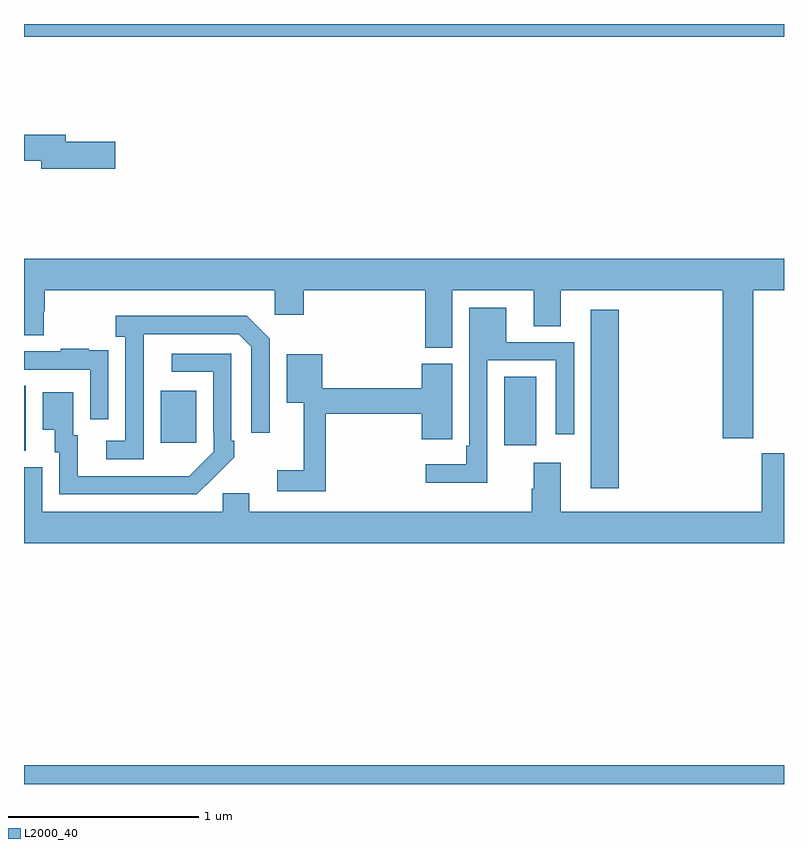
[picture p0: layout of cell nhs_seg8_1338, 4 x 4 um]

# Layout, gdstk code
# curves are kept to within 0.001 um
import gdstk
lib = gdstk.Library(unit=1e-6, precision=1e-09)
def R(c, l, rs):  # rectangles x0, y0, x1, y1
    for r in rs: c.add(gdstk.rectangle(r[:2], r[2:], *l))
def P(c, l, *ps):  # polygons
    for p in ps: c.add(gdstk.Polygon(p, *l))
L2000_40 = (2000, 40)

nhs_seg8_1338 = lib.new_cell('nhs_seg8_1338')
R(nhs_seg8_1338, L2000_40, [(195,1113.9,199,1114), (197.984,1115.457,198.131,1116.397), (195,1115.653,195.01,1115.996), (197.528,1115.682,197.695,1116.044), (195.719,1115.697,195.907,1115.971), (195,1117.832,199,1117.9)])
P(nhs_seg8_1338, L2000_40, [(195.481,1117.28),(195.22,1117.28),(195.22,1117.316),(195,1117.316),(195,1117.18),(195.092,1117.18),(195.092,1117.138),(195.481,1117.138)],
  [(198.837,1116.5),(199,1116.5),(199,1116.664),(195,1116.664),(195,1116.262),(195.105,1116.262),(195.105,1116.387),(195.11,1116.387),(195.11,1116.5),(196.32,1116.5),(196.32,1116.369),(196.472,1116.369),(196.472,1116.5),(197.111,1116.5),(197.111,1116.196),(197.254,1116.196),(197.254,1116.5),(197.684,1116.5),(197.684,1116.31),(197.824,1116.31),(197.824,1116.5),(198.677,1116.5),(198.677,1115.721),(198.837,1115.721)],
  [(197.439,1116.129),(197.799,1116.129),(197.799,1115.742),(197.895,1115.742),(197.895,1116.225),(197.539,1116.225),(197.539,1116.406),(197.343,1116.406),(197.343,1115.68),(197.327,1115.68),(197.327,1115.584),(197.115,1115.584),(197.115,1115.486),(197.439,1115.486)],
  [(195.63,1116.067),(195.631,1116.267),(196.131,1116.267),(196.197,1116.201),(196.197,1115.748),(196.293,1115.748),(196.293,1116.243),(196.172,1116.364),(195.483,1116.364),(195.483,1116.254),(195.534,1116.254),(195.534,1115.706),(195.432,1115.706),(195.432,1115.61),(195.63,1115.61)],
  [(195.444,1116.074),(195.443,1116.074),(195.443,1116.183),(195.341,1116.183),(195.341,1116.19),(195.193,1116.19),(195.193,1116.177),(195,1116.177),(195,1116.081),(195.348,1116.081),(195.348,1115.82),(195.444,1115.82)],
  [(196.001,1115.515),(196.002,1115.514),(196.107,1115.619),(196.107,1115.707),(196.092,1115.707),(196.092,1116.165),(195.777,1116.165),(195.777,1116.069),(195.996,1116.069),(195.996,1115.749),(195.999,1115.749),(195.999,1115.649),(195.871,1115.521),(195.283,1115.52),(195.283,1115.736),(195.259,1115.736),(195.259,1115.962),(195.098,1115.962),(195.098,1115.765),(195.161,1115.765),(195.161,1115.646),(195.186,1115.646),(195.186,1115.424),(195.91,1115.424)],
  [(196.589,1115.848),(197.093,1115.848),(197.093,1115.715),(197.253,1115.715),(197.253,1115.827),(197.254,1115.827),(197.254,1116.111),(197.093,1116.111),(197.093,1115.984),(196.569,1115.984),(196.569,1116.163),(196.382,1116.163),(196.382,1115.906),(196.472,1115.906),(196.472,1115.551),(196.332,1115.551),(196.332,1115.442),(196.589,1115.442)],
  [(199,1115.641),(198.884,1115.641),(198.884,1115.332),(197.824,1115.332),(197.824,1115.59),(197.684,1115.59),(197.684,1115.453),(197.672,1115.453),(197.672,1115.332),(196.186,1115.332),(196.186,1115.43),(196.047,1115.43),(196.047,1115.332),(195.097,1115.332),(195.097,1115.568),(195,1115.568),(195,1115.168),(199,1115.168)])

lib.write_gds('nhs_seg8_1338.gds')
